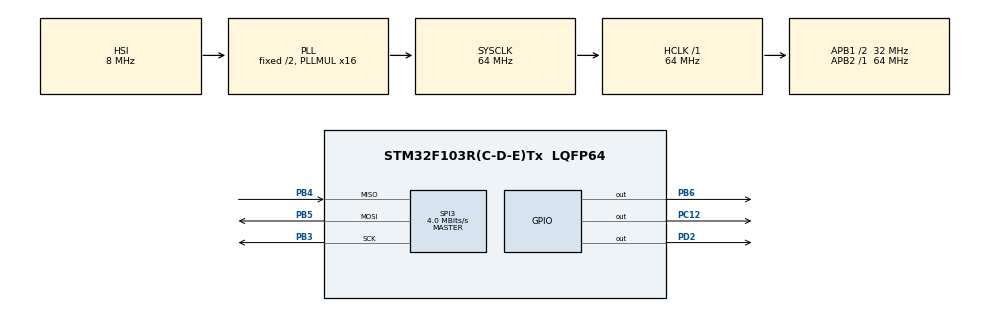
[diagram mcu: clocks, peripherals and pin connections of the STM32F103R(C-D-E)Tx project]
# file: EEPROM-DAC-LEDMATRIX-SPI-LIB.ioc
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FREERTOS.BinarySemaphores01=chipSelectSem,Dynamic,NULL
FREERTOS.HEAP_NUMBER=1
FREERTOS.Tasks01=defaultTask,0,128,StartDefaultTask,Default,NULL,Dynamic,NULL,NULL;myTask02,-3,128,StartTask02,Default,NULL,Dynamic,NULL,NULL
Mcu.Family=STM32F1
Mcu.Name=STM32F103R(C-D-E)Tx
Mcu.Package=LQFP64
NVIC.PriorityGroup=NVIC_PRIORITYGROUP_4
NVIC.TIM1_UP_IRQn=true\:0\:0\:false\:false\:true\:false\:false
NVIC.TIM6_IRQn=true\:5\:0\:false\:false\:true\:true\:true
NVIC.TimeBase=TIM1_UP_IRQn
NVIC.TimeBaseIP=TIM1
PA13.Mode=Serial_Wire
PA13.Signal=SYS_JTMS-SWDIO
PA14.Mode=Serial_Wire
PA14.Signal=SYS_JTCK-SWCLK
PB3.Mode=Full_Duplex_Master
PB3.Signal=SPI3_SCK
PB4.Mode=Full_Duplex_Master
PB4.Signal=SPI3_MISO
PB5.Mode=Full_Duplex_Master
PB5.Signal=SPI3_MOSI
PB6.GPIO_Speed=GPIO_SPEED_FREQ_HIGH
PB6.PinState=GPIO_PIN_SET
PB6.Signal=GPIO_Output
PC12.GPIO_Speed=GPIO_SPEED_FREQ_HIGH
PC12.PinState=GPIO_PIN_SET
PC12.Signal=GPIO_Output
PD2.GPIO_Speed=GPIO_SPEED_FREQ_HIGH
PD2.PinState=GPIO_PIN_SET
PD2.Signal=GPIO_Output
ProjectManager.HeapSize=0x200
ProjectManager.StackSize=0x400
ProjectManager.TargetToolchain=SW4STM32
RCC.AHBFreq_Value=64000000
RCC.APB1CLKDivider=RCC_HCLK_DIV2
RCC.APB1Freq_Value=32000000
RCC.APB1TimFreq_Value=64000000
RCC.APB2Freq_Value=64000000
RCC.APB2TimFreq_Value=64000000
RCC.HCLKFreq_Value=64000000
RCC.PLLMUL=RCC_PLL_MUL16
RCC.SYSCLKFreq_VALUE=64000000
RCC.SYSCLKSource=RCC_SYSCLKSOURCE_PLLCLK
RCC.USBFreq_Value=64000000
SPI3.BaudRatePrescaler=SPI_BAUDRATEPRESCALER_8
SPI3.CLKPolarity=SPI_POLARITY_LOW
SPI3.CalculateBaudRate=4.0 MBits/s
SPI3.DataSize=SPI_DATASIZE_8BIT
SPI3.Direction=SPI_DIRECTION_2LINES
SPI3.Mode=SPI_MODE_MASTER
SPI3.VirtualType=VM_MASTER
TIM6.Period=7999
VP_FREERTOS_VS_ENABLE.Mode=Enabled
VP_SYS_VS_tim1.Mode=TIM1
VP_TIM6_VS_ClockSourceINT.Mode=Enable_Timer
board=custom

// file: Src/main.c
/**
  ******************************************************************************
  * @file           : main.c
  * @brief          : Main program body
  ******************************************************************************
  * This notice applies to any and all portions of this file
  * that are not between comment pairs USER CODE BEGIN and
  * USER CODE END. Other portions of this file, whether
  * inserted by the user or by software development tools
  * are owned by their respective copyright owners.
  *
  * Copyright (c) 2018 STMicroelectronics International N.V.
  * All rights reserved.
  *
  * Redistribution and use in source and binary forms, with or without
  * modification, are permitted, provided that the following conditions are met:
  *
  * 1. Redistribution of source code must retain the above copyright notice,
  *    this list of conditions and the following disclaimer.
  * 2. Redistributions in binary form must reproduce the above copyright notice,
  *    this list of conditions and the following disclaimer in the documentation
  *    and/or other materials provided with the distribution.
  * 3. Neither the name of STMicroelectronics nor the names of other
  *    contributors to this software may be used to endorse or promote products
  *    derived from this software without specific written permission.
  * 4. This software, including modifications and/or derivative works of this
  *    software, must execute solely and exclusively on microcontroller or
  *    microprocessor devices manufactured by or for STMicroelectronics.
  * 5. Redistribution and use of this software other than as permitted under
  *    this license is void and will automatically terminate your rights under
  *    this license.
  *
  * THIS SOFTWARE IS PROVIDED BY STMICROELECTRONICS AND CONTRIBUTORS "AS IS"
  * AND ANY EXPRESS, IMPLIED OR STATUTORY WARRANTIES, INCLUDING, BUT NOT
  * LIMITED TO, THE IMPLIED WARRANTIES OF MERCHANTABILITY, FITNESS FOR A
  * PARTICULAR PURPOSE AND NON-INFRINGEMENT OF THIRD PARTY INTELLECTUAL PROPERTY
  * RIGHTS ARE DISCLAIMED TO THE FULLEST EXTENT PERMITTED BY LAW. IN NO EVENT
  * SHALL STMICROELECTRONICS OR CONTRIBUTORS BE LIABLE FOR ANY DIRECT, INDIRECT,
  * INCIDENTAL, SPECIAL, EXEMPLARY, OR CONSEQUENTIAL DAMAGES (INCLUDING, BUT NOT
  * LIMITED TO, PROCUREMENT OF SUBSTITUTE GOODS OR SERVICES; LOSS OF USE, DATA,
  * OR PROFITS; OR BUSINESS INTERRUPTION) HOWEVER CAUSED AND ON ANY THEORY OF
  * LIABILITY, WHETHER IN CONTRACT, STRICT LIABILITY, OR TORT (INCLUDING
  * NEGLIGENCE OR OTHERWISE) ARISING IN ANY WAY OUT OF THE USE OF THIS SOFTWARE,
  * EVEN IF ADVISED OF THE POSSIBILITY OF SUCH DAMAGE.
  *
  ******************************************************************************
  */
#include "main.h"
#include "stm32f1xx_hal.h"
#include "cmsis_os.h"
#include "spi.h"
#include "tim.h"
#include "gpio.h"

/* USER CODE BEGIN PV */
/* Private variables ---------------------------------------------------------*/

/* USER CODE END PV */

void SystemClock_Config(void);
void MX_FREERTOS_Init(void);

/* USER CODE BEGIN PFP */
/* Private function prototypes -----------------------------------------------*/

/* USER CODE END PFP */

int main(void)
{

  /* MCU Configuration----------------------------------------------------------*/

  /* Reset of all peripherals, Initializes the Flash interface and the Systick. */
  HAL_Init();

  /* Configure the system clock */
  SystemClock_Config();

  /* Initialize all configured peripherals */
  MX_GPIO_Init();
  MX_SPI3_Init();
  MX_TIM6_Init();

  /* Call init function for freertos objects (in freertos.c) */
  MX_FREERTOS_Init();

  /* Start scheduler */
  osKernelStart();

  /* We should never get here as control is now taken by the scheduler */

  /* Infinite loop */
  while (1)
  {

  }

}

void SystemClock_Config(void)
{

  RCC_OscInitTypeDef RCC_OscInitStruct;
  RCC_ClkInitTypeDef RCC_ClkInitStruct;

    /**Initializes the CPU, AHB and APB busses clocks
    */
  RCC_OscInitStruct.OscillatorType = RCC_OSCILLATORTYPE_HSI;
  RCC_OscInitStruct.HSIState = RCC_HSI_ON;
  RCC_OscInitStruct.HSICalibrationValue = 16;
  RCC_OscInitStruct.PLL.PLLState = RCC_PLL_ON;
  RCC_OscInitStruct.PLL.PLLSource = RCC_PLLSOURCE_HSI_DIV2;
  RCC_OscInitStruct.PLL.PLLMUL = RCC_PLL_MUL16;
  if (HAL_RCC_OscConfig(&RCC_OscInitStruct) != HAL_OK)
  {
    _Error_Handler(__FILE__, __LINE__);
  }

    /**Initializes the CPU, AHB and APB busses clocks
    */
  RCC_ClkInitStruct.ClockType = RCC_CLOCKTYPE_HCLK|RCC_CLOCKTYPE_SYSCLK
                              |RCC_CLOCKTYPE_PCLK1|RCC_CLOCKTYPE_PCLK2;
  RCC_ClkInitStruct.SYSCLKSource = RCC_SYSCLKSOURCE_PLLCLK;
  RCC_ClkInitStruct.AHBCLKDivider = RCC_SYSCLK_DIV1;
  RCC_ClkInitStruct.APB1CLKDivider = RCC_HCLK_DIV2;
  RCC_ClkInitStruct.APB2CLKDivider = RCC_HCLK_DIV1;

  if (HAL_RCC_ClockConfig(&RCC_ClkInitStruct, FLASH_LATENCY_2) != HAL_OK)
  {
    _Error_Handler(__FILE__, __LINE__);
  }

    /**Configure the Systick interrupt time
    */
  HAL_SYSTICK_Config(HAL_RCC_GetHCLKFreq()/1000);

    /**Configure the Systick
    */
  HAL_SYSTICK_CLKSourceConfig(SYSTICK_CLKSOURCE_HCLK);

  /* SysTick_IRQn interrupt configuration */
  HAL_NVIC_SetPriority(SysTick_IRQn, 15, 0);
}

void HAL_TIM_PeriodElapsedCallback(TIM_HandleTypeDef *htim)
{
  if (htim->Instance == TIM1) {
    HAL_IncTick();
  }
}

void _Error_Handler(char *file, int line)
{
  while(1)
  {
  }
}

/************************ (C) COPYRIGHT STMicroelectronics *****END OF FILE****/

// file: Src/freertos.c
/**
  ******************************************************************************
  * File Name          : freertos.c
  * Description        : Code for freertos applications
  ******************************************************************************
  * This notice applies to any and all portions of this file
  * that are not between comment pairs USER CODE BEGIN and
  * USER CODE END. Other portions of this file, whether
  * inserted by the user or by software development tools
  * are owned by their respective copyright owners.
  *
  * Copyright (c) 2018 STMicroelectronics International N.V.
  * All rights reserved.
  *
  * Redistribution and use in source and binary forms, with or without
  * modification, are permitted, provided that the following conditions are met:
  *
  * 1. Redistribution of source code must retain the above copyright notice,
  *    this list of conditions and the following disclaimer.
  * 2. Redistributions in binary form must reproduce the above copyright notice,
  *    this list of conditions and the following disclaimer in the documentation
  *    and/or other materials provided with the distribution.
  * 3. Neither the name of STMicroelectronics nor the names of other
  *    contributors to this software may be used to endorse or promote products
  *    derived from this software without specific written permission.
  * 4. This software, including modifications and/or derivative works of this
  *    software, must execute solely and exclusively on microcontroller or
  *    microprocessor devices manufactured by or for STMicroelectronics.
  * 5. Redistribution and use of this software other than as permitted under
  *    this license is void and will automatically terminate your rights under
  *    this license.
  *
  * THIS SOFTWARE IS PROVIDED BY STMICROELECTRONICS AND CONTRIBUTORS "AS IS"
  * AND ANY EXPRESS, IMPLIED OR STATUTORY WARRANTIES, INCLUDING, BUT NOT
  * LIMITED TO, THE IMPLIED WARRANTIES OF MERCHANTABILITY, FITNESS FOR A
  * PARTICULAR PURPOSE AND NON-INFRINGEMENT OF THIRD PARTY INTELLECTUAL PROPERTY
  * RIGHTS ARE DISCLAIMED TO THE FULLEST EXTENT PERMITTED BY LAW. IN NO EVENT
  * SHALL STMICROELECTRONICS OR CONTRIBUTORS BE LIABLE FOR ANY DIRECT, INDIRECT,
  * INCIDENTAL, SPECIAL, EXEMPLARY, OR CONSEQUENTIAL DAMAGES (INCLUDING, BUT NOT
  * LIMITED TO, PROCUREMENT OF SUBSTITUTE GOODS OR SERVICES; LOSS OF USE, DATA,
  * OR PROFITS; OR BUSINESS INTERRUPTION) HOWEVER CAUSED AND ON ANY THEORY OF
  * LIABILITY, WHETHER IN CONTRACT, STRICT LIABILITY, OR TORT (INCLUDING
  * NEGLIGENCE OR OTHERWISE) ARISING IN ANY WAY OUT OF THE USE OF THIS SOFTWARE,
  * EVEN IF ADVISED OF THE POSSIBILITY OF SUCH DAMAGE.
  *
  ******************************************************************************
  */

#include "FreeRTOS.h"
#include "task.h"
#include "cmsis_os.h"

/* USER CODE BEGIN Includes */
#include "spi.h"
#include "tim.h"
#include "audio.h"
#include "spx.h"
#include "defines.h"
#include "STM32_EEPROM_SPI.h"
#include "max7219.h"
/* USER CODE END Includes */

osThreadId defaultTaskHandle;
osThreadId myTask02Handle;
osSemaphoreId chipSelectSemHandle;

/* USER CODE BEGIN Variables */
uint8_t playSound = 0;
/* USER CODE END Variables */

void StartDefaultTask(void const * argument);
void StartTask02(void const * argument);

void MX_FREERTOS_Init(void); /* (MISRA C 2004 rule 8.1) */

/* Hook prototypes */

/* Init FreeRTOS */

void MX_FREERTOS_Init(void) {

  /* Create the semaphores(s) */
  /* definition and creation of chipSelectSem */
  osSemaphoreDef(chipSelectSem);
  chipSelectSemHandle = osSemaphoreCreate(osSemaphore(chipSelectSem), 1);

  /* Create the thread(s) */
  /* definition and creation of defaultTask */
  osThreadDef(defaultTask, StartDefaultTask, osPriorityNormal, 0, 128);
  defaultTaskHandle = osThreadCreate(osThread(defaultTask), NULL);

  /* definition and creation of myTask02 */
  osThreadDef(myTask02, StartTask02, osPriorityIdle, 0, 128);
  myTask02Handle = osThreadCreate(osThread(myTask02), NULL);

  /* USER CODE BEGIN RTOS_QUEUES */
	/* add queues, ... */
	SpeexInit();
	// Инициализация led матрицы.
	// На вход подается значение интенсивности
	MAX729_Init(0x05);
  /* USER CODE END RTOS_QUEUES */
}

/* StartDefaultTask function */
void StartDefaultTask(void const * argument)
{

  /* USER CODE BEGIN StartDefaultTask */
	/* Infinite loop */
	for(;;)
	{
		// Включаем прерывания по таймеру
		HAL_TIM_Base_Start_IT(&htim6);
		// Начинаем проигрывать запись
		PlayMessageFromEEPROM();
		// Выключаем прерывания по таймеру
		HAL_TIM_Base_Stop_IT(&htim6);
		osDelay(5000);
	}
  /* USER CODE END StartDefaultTask */
}

/* StartTask02 function */
void StartTask02(void const * argument)
{
  /* USER CODE BEGIN StartTask02 */
	/* Infinite loop */
	for(;;)
	{
		MAX729_Clean();
		for(uint8_t i = 1; i < 4; i++)
		{
			DrawAll(i);
		}
	}
  /* USER CODE END StartTask02 */
}

/************************ (C) COPYRIGHT STMicroelectronics *****END OF FILE****/
